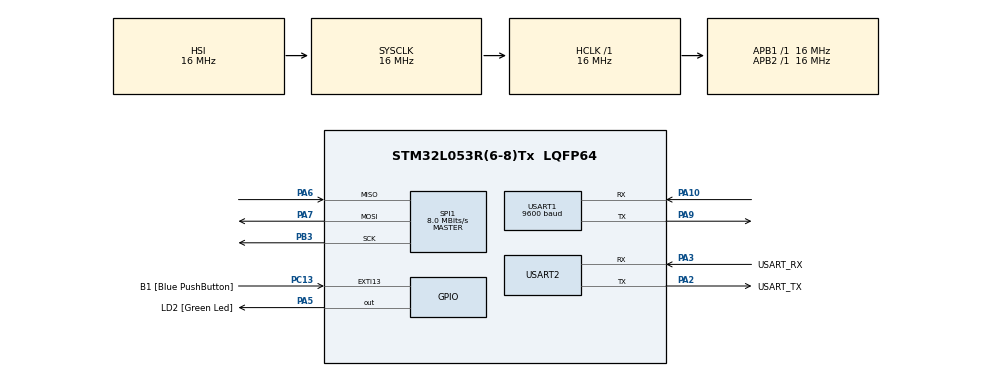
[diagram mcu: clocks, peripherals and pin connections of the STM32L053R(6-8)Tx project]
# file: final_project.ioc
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Mcu.Family=STM32L0
Mcu.Name=STM32L053R(6-8)Tx
Mcu.Package=LQFP64
PA10.Mode=Asynchronous
PA10.Signal=USART1_RX
PA13.GPIO_Label=TMS
PA13.Mode=Serial_Wire
PA13.Signal=SYS_SWDIO
PA14.GPIO_Label=TCK
PA14.Mode=Serial_Wire
PA14.Signal=SYS_SWCLK
PA2.GPIO_Label=USART_TX
PA2.Mode=Asynchronous
PA2.Signal=USART2_TX
PA3.GPIO_Label=USART_RX
PA3.Mode=Asynchronous
PA3.Signal=USART2_RX
PA5.GPIO_Label=LD2 [Green Led]
PA5.Signal=GPIO_Output
PA6.Mode=Full_Duplex_Master
PA6.Signal=SPI1_MISO
PA7.Mode=Full_Duplex_Master
PA7.Signal=SPI1_MOSI
PA9.Mode=Asynchronous
PA9.Signal=USART1_TX
PB3.Mode=Full_Duplex_Master
PB3.Signal=SPI1_SCK
PC13.GPIO_Label=B1 [Blue PushButton]
PC13.GPIO_ModeDefaultEXTI=GPIO_MODE_IT_FALLING
PC13.Signal=GPXTI13
PC14-OSC32_IN.Mode=LSE-External-Oscillator
PC14-OSC32_IN.Signal=RCC_OSC32_IN
PC15-OSC32_OUT.Mode=LSE-External-Oscillator
PC15-OSC32_OUT.Signal=RCC_OSC32_OUT
PH0-OSC_IN.Mode=HSE-External-Clock-Source
PH0-OSC_IN.Signal=RCC_OSC_IN
PH1-OSC_OUT.Signal=RCC_OSC_OUT
ProjectManager.HeapSize=0x200
ProjectManager.StackSize=0x400
ProjectManager.TargetToolchain=STM32CubeIDE
RCC.AHBFreq_Value=16000000
RCC.APB1Freq_Value=16000000
RCC.APB1TimFreq_Value=16000000
RCC.APB2Freq_Value=16000000
RCC.APB2TimFreq_Value=16000000
RCC.HCLKFreq_Value=16000000
RCC.HSE_VALUE=8000000
RCC.HSI16_VALUE=16000000
RCC.HSI48_VALUE=48000000
RCC.HSI_VALUE=16000000
RCC.MSI_VALUE=2097000
RCC.SYSCLKFreq_VALUE=16000000
RCC.SYSCLKSource=RCC_SYSCLKSOURCE_HSI
RCC.VCOOutputFreq_Value=48000000
SPI1.CalculateBaudRate=8.0 MBits/s
SPI1.Direction=SPI_DIRECTION_2LINES
SPI1.Mode=SPI_MODE_MASTER
SPI1.VirtualType=VM_MASTER
USART1.BaudRate=9600
USART1.VirtualMode-Asynchronous=VM_ASYNC
USART2.VirtualMode-Asynchronous=VM_ASYNC
VP_TIM6_VS_ClockSourceINT.Mode=Enable_Timer
board=NUCLEO-L053R8

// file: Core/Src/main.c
/* USER CODE BEGIN Header */
/**
  ******************************************************************************
  * @file           : main.c
  * @brief          : Main program body
  ******************************************************************************
  * @attention
  *
  * Copyright (c) 2025 STMicroelectronics.
  * All rights reserved.
  *
  * This software is licensed under terms that can be found in the LICENSE file
  * in the root directory of this software component.
  * If no LICENSE file comes with this software, it is provided AS-IS.
  *
  ******************************************************************************
  */
/* USER CODE END Header */
#include "main.h"
#include "lcd.h"
#include <string.h>
#include <stdlib.h>
#include <stdio.h>

typedef enum {
    NOTE_A,
    NOTE_A_SHARP,
    NOTE_B,
    NOTE_C,
    NOTE_C_SHARP,
    NOTE_D,
    NOTE_D_SHARP,
    NOTE_E,
    NOTE_F,
    NOTE_F_SHARP,
    NOTE_G,
    NOTE_G_SHARP,
    NOTE_UNKNOWN
} MusicNote;

typedef struct {
    MusicNote note;
    int offsetHz;
} TunerData;

SPI_HandleTypeDef hspi1;
TIM_HandleTypeDef htim6;
UART_HandleTypeDef huart1;
UART_HandleTypeDef huart2;

void SystemClock_Config(void);
static void MX_GPIO_Init(void);
static void MX_USART2_UART_Init(void);
static void MX_SPI1_Init(void);
static void MX_TIM6_Init(void);
static void MX_USART1_UART_Init(void);

/* USER CODE BEGIN PFP */
char *readStrFromBT( uint32_t timeout);
MusicNote stringToEnum(char* noteStr);
void updateTunerDisplay(TunerData data);
void drawScale();
void draw_arrow_down(uint16_t x, uint16_t y, uint16_t size, uint32_t color);

#define BUFF_SIZE 32
char rx_buff_from_BlueTooth_module[BUFF_SIZE];
TunerData currentTunerState;
/* USER CODE END PFP */

int main(void)
{

  /* MCU Configuration--------------------------------------------------------*/

  /* Reset of all peripherals, Initializes  Flash interface and the Systick. */
  HAL_Init();

  /* Configure the system clock */
  SystemClock_Config();

  /* Initialize all configured peripherals */
  MX_GPIO_Init();
  MX_USART2_UART_Init();
  MX_SPI1_Init();
  MX_TIM6_Init();
  MX_USART1_UART_Init();
  LCD_init();

  /* USER CODE BEGIN 2 */
  LCD_SetRotation(3);
  /* USER CODE END 2 */
  drawScale();

  /* Store the last note sent to the Nucleo */
  MusicNote tempNote = NOTE_UNKNOWN;

  /* Infinite loop */
  /* USER CODE BEGIN WHILE */
  while (1)
  {

      char* btString = readStrFromBT(100);

      if (btString != NULL)
      {
          /* parse string */
          char* notePart = strtok(btString, ",");
          char* offsetPart = strtok(NULL, ",");

          if (notePart != NULL && offsetPart != NULL) {

        	  /* convert string note to enum */
              MusicNote noteEnum = stringToEnum(notePart);

              if (noteEnum != tempNote){
            	  UG_FillFrame(0, 0, 319, 180, C_BLACK);
            	  tempNote = noteEnum;
              }
              // Convert string offset to integer
              int offsetVal = atoi(offsetPart);

              TunerData data = {noteEnum, offsetVal};

              updateTunerDisplay(data);

          }

      }
  }
}

/**
 * @brief Print the scale under the note display
 * @retval MusicNote enum value
 */

void drawScale() {

    int y_pos = 215;
    int center_x = 160;
    int radius = 8;
    int spacing = 26;

    /* iterate from -5 to +5 (11 total circles) */
    for (int i = -5; i <= 5; i++) {

        int x_curr = center_x + (i * spacing);
        UG_COLOR c;
        int dist = abs(i);

        if (dist == 0) {
        	//center circle
            c = C_GREEN;
        } else if (dist <= 3) {
        	//3 yellows on each side
            c = C_YELLOW;
        } else {
        	//outer circles
            c = C_RED;
        }
        // Draw the solid color "LED"
        UG_FillCircle(x_curr, y_pos, radius, c);

    }
}

/**
 * @brief Get note from input character
 * @retval None
 */
MusicNote stringToEnum(char* noteStr) {
    if (strcmp(noteStr, "A") == 0) return NOTE_A;
    if (strcmp(noteStr, "A#") == 0) return NOTE_A_SHARP;
    if (strcmp(noteStr, "B") == 0) return NOTE_B;
    if (strcmp(noteStr, "C") == 0) return NOTE_C;
    if (strcmp(noteStr, "C#") == 0) return NOTE_C_SHARP;
    if (strcmp(noteStr, "D") == 0) return NOTE_D;
    if (strcmp(noteStr, "D#") == 0) return NOTE_D_SHARP;
    if (strcmp(noteStr, "E") == 0) return NOTE_E;
    if (strcmp(noteStr, "F") == 0) return NOTE_F;
    if (strcmp(noteStr, "F#") == 0) return NOTE_F_SHARP;
    if (strcmp(noteStr, "G") == 0) return NOTE_G;
    if (strcmp(noteStr, "G#") == 0) return NOTE_G_SHARP;
    return NOTE_UNKNOWN;
}

/**
 * @brief Draw sharp symbol
 * @retval None
 */
void drawSharp() {
    int sx = 230;
    int ex = 290;
    int top = 50;
    int bot = 160;
    int thick = 10;

    // Left vertical
    UG_FillFrame(sx, top, sx + thick, bot, C_WHITE);
    // Right vertical
    UG_FillFrame(ex - thick, top, ex, bot, C_WHITE);
    // Upper horizontal
    int y1 = 80;
    UG_FillFrame(sx - 10, y1, ex + 10, y1 + thick, C_WHITE);
    // Lower horizontal
    int y2 = 120;
    UG_FillFrame(sx - 10, y2, ex + 10, y2 + thick, C_WHITE);
}

void updateTunerDisplay(TunerData data) {

    int x_left = 110, x_right = 210;
    int y_top = 30, y_bot = 150;
    int thick = 12;
    int y_mid = y_top + (y_bot - y_top) / 2;

    int safe_offset = data.offsetHz;
    UG_COLOR fc = C_WHITE;

    if (safe_offset == 0){
    	fc = C_GREEN;
    }

    switch (data.note) {

        case NOTE_A:
        case NOTE_A_SHARP: {
            //Left vertical leg
            UG_FillFrame(x_left, y_top, x_left + thick, y_bot, fc);
            //Right vertical leg
            UG_FillFrame(x_right - thick, y_top, x_right, y_bot, fc);
            //Top horizontal
            UG_FillFrame(x_left, y_top, x_right, y_top + thick, fc);
            //Crossbar
            UG_FillFrame(x_left + thick, y_mid - thick/2, x_right - thick, y_mid + thick/2, fc);

            if (data.note == NOTE_A_SHARP) drawSharp();
        } break;

        case NOTE_B: {
            //Left vertical spine
            UG_FillFrame(x_left, y_top, x_left + thick, y_bot, fc);
            //Top horizontal
            UG_FillFrame(x_left, y_top, x_right - 10, y_top + thick, fc);
            //Middle horizontal
            UG_FillFrame(x_left, y_mid - thick/2, x_right - 10, y_mid + thick/2, fc);
            //Bottom horizontal
            UG_FillFrame(x_left, y_bot - thick, x_right - 10, y_bot, fc);
            //Right vertical short bar (top half)
            UG_FillFrame(x_right-10, y_top + thick, x_right + 2, y_mid - thick/2, fc);
            //Right vertical short bar (bottom half)
            UG_FillFrame(x_right - 10, y_mid + thick/2, x_right + 2, y_bot - thick, fc);
        } break;

        case NOTE_C:
        case NOTE_C_SHARP: {
            //Left vertical
            UG_FillFrame(x_left, y_top, x_left + thick, y_bot, fc);
            //Top horizontal
            UG_FillFrame(x_left, y_top, x_right, y_top + thick, fc);
            //Bottom horizontal
            UG_FillFrame(x_left, y_bot - thick, x_right, y_bot, fc);

            if (data.note == NOTE_C_SHARP) drawSharp();
        } break;

        case NOTE_D:
        case NOTE_D_SHARP: {
            //Left vertical
            UG_FillFrame(x_left, y_top, x_left + thick, y_bot, fc);
            //Top horizontal (slightly shorter to meet right curve)
            UG_FillFrame(x_left, y_top, x_right - thick, y_top + thick, fc);
            //Bottom horizontal
            UG_FillFrame(x_left, y_bot - thick, x_right - thick, y_bot, fc);
            //Right vertical (closing the D)
            UG_FillFrame(x_right - thick, y_top + thick, x_right, y_bot - thick, fc);

            if (data.note == NOTE_D_SHARP) drawSharp();
        } break;

        case NOTE_E: {
            // Left vertical
            UG_FillFrame(x_left, y_top, x_left + thick, y_bot, fc);
            // Top horizontal
            UG_FillFrame(x_left, y_top, x_right, y_top + thick, fc);
            // Middle horizontal
            UG_FillFrame(x_left, y_mid - thick/2, x_right - 20, y_mid + thick/2, fc);
            // Bottom horizontal
            UG_FillFrame(x_left, y_bot - thick, x_right, y_bot, fc);
        } break;

        case NOTE_F:
        case NOTE_F_SHARP: {
            // Left vertical
            UG_FillFrame(x_left, y_top, x_left + thick, y_bot, fc);
            // Top horizontal
            UG_FillFrame(x_left, y_top, x_right, y_top + thick, fc);
            // Middle horizontal
            UG_FillFrame(x_left, y_mid - thick/2, x_right - 20, y_mid + thick/2, fc);

            if (data.note == NOTE_F_SHARP) drawSharp();
        } break;

        case NOTE_G:
        case NOTE_G_SHARP: {
            // Left vertical
            UG_FillFrame(x_left, y_top, x_left + thick, y_bot, fc);
            // Top horizontal
            UG_FillFrame(x_left, y_top, x_right, y_top + thick, fc);
            // Bottom horizontal
            UG_FillFrame(x_left, y_bot - thick, x_right, y_bot, fc);
            // Right vertical (Lower half only)
            UG_FillFrame(x_right - thick, y_mid, x_right, y_bot, fc);
            // Inward middle dash
            UG_FillFrame(x_right - thick - 30, y_mid - thick/2, x_right - thick, y_mid + thick/2, fc);

            if (data.note == NOTE_G_SHARP) drawSharp();
        } break;

        default:
            UG_FillFrame(0, 0, 319, 165, C_BLACK);
            break;

    }

    /* Draw the offset arrow */
    static int prev_arrow_x = -1;

	/* Constants for the Scale */
	int center_x = 160;
	int spacing = 26;
	int arrow_y = 180; // Position above the circles
	int arrow_size = 20;

	if(safe_offset > 5) safe_offset = 5;
	if(safe_offset < -5) safe_offset = -5;

	int current_arrow_x = center_x + (safe_offset * spacing);

	if (prev_arrow_x != -1 && prev_arrow_x != current_arrow_x) {

		UG_FillFrame(prev_arrow_x - (arrow_size/2 + 2), arrow_y,
					 prev_arrow_x + (arrow_size/2 + 2), arrow_y + arrow_size, C_BLACK);
	}

	if (prev_arrow_x != current_arrow_x) {

		uint32_t arrow_color = (safe_offset == 0) ? C_GREEN : C_WHITE;
		draw_arrow_down(current_arrow_x, arrow_y, arrow_size, arrow_color);
		prev_arrow_x = current_arrow_x;
	}
}

void draw_arrow_down(uint16_t x, uint16_t y, uint16_t size, uint32_t color)
{
    // arrow shaft
    uint16_t shaft_width = size / 3;
    uint16_t shaft_height = size / 2;

    UG_FillFrame(x - (shaft_width/2), y, x + (shaft_width/2), y + shaft_height, color);

    // arrow head
    int head_start_y = y + shaft_height;
    int head_height = size - shaft_height;

    for (int i = 0; i < head_height; i++) {
        int width = (head_height - i) * 2; // Taper the width
        UG_DrawLine(x - width/2, head_start_y + i, x + width/2, head_start_y + i, color);
    }
}

/**
  * @brief  Function to read data from BlueTooth module via UART1
  * @param  timeout: timeout value in milliseconds
  * @retval pointer to the received data buffer
  */

char *readStrFromBT(uint32_t timeout)
{
  memset(rx_buff_from_BlueTooth_module, 0, BUFF_SIZE);
  int idx = 0;
  uint8_t received_char;
  uint32_t startTick = HAL_GetTick();

  while ((HAL_GetTick() - startTick) < timeout)
  {
      if (HAL_UART_Receive(&huart1, &received_char, 1, 10) == HAL_OK)
      {

          rx_buff_from_BlueTooth_module[idx] = received_char;
          idx++;

          if (received_char == '\n')
          {
              break;
          }

          if (idx >= BUFF_SIZE - 1) break;
      }
  }

  rx_buff_from_BlueTooth_module[idx] = '\0';

  if (idx > 0) {
      return rx_buff_from_BlueTooth_module;
  } else {
      return NULL;
  }
}

void SystemClock_Config(void)
{
  RCC_OscInitTypeDef RCC_OscInitStruct = {0};
  RCC_ClkInitTypeDef RCC_ClkInitStruct = {0};
  RCC_PeriphCLKInitTypeDef PeriphClkInit = {0};

  /** Configure the main internal regulator output voltage
  */
  __HAL_PWR_VOLTAGESCALING_CONFIG(PWR_REGULATOR_VOLTAGE_SCALE1);

  /** Initializes the RCC Oscillators according to the specified parameters
  * in the RCC_OscInitTypeDef structure.
  */
  RCC_OscInitStruct.OscillatorType = RCC_OSCILLATORTYPE_HSI;
  RCC_OscInitStruct.HSIState = RCC_HSI_ON;
  RCC_OscInitStruct.HSICalibrationValue = RCC_HSICALIBRATION_DEFAULT;
  RCC_OscInitStruct.PLL.PLLState = RCC_PLL_NONE;
  if (HAL_RCC_OscConfig(&RCC_OscInitStruct) != HAL_OK)
  {
    Error_Handler();
  }

  /** Initializes the CPU, AHB and APB buses clocks
  */
  RCC_ClkInitStruct.ClockType = RCC_CLOCKTYPE_HCLK|RCC_CLOCKTYPE_SYSCLK
                              |RCC_CLOCKTYPE_PCLK1|RCC_CLOCKTYPE_PCLK2;
  RCC_ClkInitStruct.SYSCLKSource = RCC_SYSCLKSOURCE_HSI;
  RCC_ClkInitStruct.AHBCLKDivider = RCC_SYSCLK_DIV1;
  RCC_ClkInitStruct.APB1CLKDivider = RCC_HCLK_DIV1;
  RCC_ClkInitStruct.APB2CLKDivider = RCC_HCLK_DIV1;

  if (HAL_RCC_ClockConfig(&RCC_ClkInitStruct, FLASH_LATENCY_0) != HAL_OK)
  {
    Error_Handler();
  }
  PeriphClkInit.PeriphClockSelection = RCC_PERIPHCLK_USART1|RCC_PERIPHCLK_USART2;
  PeriphClkInit.Usart1ClockSelection = RCC_USART1CLKSOURCE_PCLK2;
  PeriphClkInit.Usart2ClockSelection = RCC_USART2CLKSOURCE_PCLK1;
  if (HAL_RCCEx_PeriphCLKConfig(&PeriphClkInit) != HAL_OK)
  {
    Error_Handler();
  }
}

static void MX_SPI1_Init(void)
{

  /* SPI1 parameter configuration*/
  hspi1.Instance = SPI1;
  hspi1.Init.Mode = SPI_MODE_MASTER;
  hspi1.Init.Direction = SPI_DIRECTION_2LINES;
  hspi1.Init.DataSize = SPI_DATASIZE_8BIT;
  hspi1.Init.CLKPolarity = SPI_POLARITY_LOW;
  hspi1.Init.CLKPhase = SPI_PHASE_1EDGE;
  hspi1.Init.NSS = SPI_NSS_SOFT;
  hspi1.Init.BaudRatePrescaler = SPI_BAUDRATEPRESCALER_2;
  hspi1.Init.FirstBit = SPI_FIRSTBIT_MSB;
  hspi1.Init.TIMode = SPI_TIMODE_DISABLE;
  hspi1.Init.CRCCalculation = SPI_CRCCALCULATION_DISABLE;
  hspi1.Init.CRCPolynomial = 7;
  if (HAL_SPI_Init(&hspi1) != HAL_OK)
  {
    Error_Handler();
  }

}

static void MX_TIM6_Init(void)
{

  TIM_MasterConfigTypeDef sMasterConfig = {0};

  htim6.Instance = TIM6;
  htim6.Init.Prescaler = 0;
  htim6.Init.CounterMode = TIM_COUNTERMODE_UP;
  htim6.Init.Period = 65535;
  htim6.Init.AutoReloadPreload = TIM_AUTORELOAD_PRELOAD_DISABLE;
  if (HAL_TIM_Base_Init(&htim6) != HAL_OK)
  {
    Error_Handler();
  }
  sMasterConfig.MasterOutputTrigger = TIM_TRGO_RESET;
  sMasterConfig.MasterSlaveMode = TIM_MASTERSLAVEMODE_DISABLE;
  if (HAL_TIMEx_MasterConfigSynchronization(&htim6, &sMasterConfig) != HAL_OK)
  {
    Error_Handler();
  }

}

static void MX_USART1_UART_Init(void)
{

  huart1.Instance = USART1;
  huart1.Init.BaudRate = 9600;
  huart1.Init.WordLength = UART_WORDLENGTH_8B;
  huart1.Init.StopBits = UART_STOPBITS_1;
  huart1.Init.Parity = UART_PARITY_NONE;
  huart1.Init.Mode = UART_MODE_TX_RX;
  huart1.Init.HwFlowCtl = UART_HWCONTROL_NONE;
  huart1.Init.OverSampling = UART_OVERSAMPLING_16;
  huart1.Init.OneBitSampling = UART_ONE_BIT_SAMPLE_DISABLE;
  huart1.AdvancedInit.AdvFeatureInit = UART_ADVFEATURE_NO_INIT;
  if (HAL_UART_Init(&huart1) != HAL_OK)
  {
    Error_Handler();
  }

}

static void MX_USART2_UART_Init(void)
{

  huart2.Instance = USART2;
  huart2.Init.BaudRate = 115200;
  huart2.Init.WordLength = UART_WORDLENGTH_8B;
  huart2.Init.StopBits = UART_STOPBITS_1;
  huart2.Init.Parity = UART_PARITY_NONE;
  huart2.Init.Mode = UART_MODE_TX_RX;
  huart2.Init.HwFlowCtl = UART_HWCONTROL_NONE;
  huart2.Init.OverSampling = UART_OVERSAMPLING_16;
  huart2.Init.OneBitSampling = UART_ONE_BIT_SAMPLE_DISABLE;
  huart2.AdvancedInit.AdvFeatureInit = UART_ADVFEATURE_NO_INIT;
  if (HAL_UART_Init(&huart2) != HAL_OK)
  {
    Error_Handler();
  }

}

static void MX_GPIO_Init(void)
{
  GPIO_InitTypeDef GPIO_InitStruct = {0};

  /* GPIO Ports Clock Enable */
  __HAL_RCC_GPIOC_CLK_ENABLE();
  __HAL_RCC_GPIOH_CLK_ENABLE();
  __HAL_RCC_GPIOA_CLK_ENABLE();
  __HAL_RCC_GPIOB_CLK_ENABLE();

  /*Configure GPIO pin Output Level */
  HAL_GPIO_WritePin(LD2_GPIO_Port, LD2_Pin, GPIO_PIN_RESET);

  /*Configure GPIO pin : B1_Pin */
  GPIO_InitStruct.Pin = B1_Pin;
  GPIO_InitStruct.Mode = GPIO_MODE_IT_FALLING;
  GPIO_InitStruct.Pull = GPIO_NOPULL;
  HAL_GPIO_Init(B1_GPIO_Port, &GPIO_InitStruct);

  /*Configure GPIO pin : LD2_Pin */
  GPIO_InitStruct.Pin = LD2_Pin;
  GPIO_InitStruct.Mode = GPIO_MODE_OUTPUT_PP;
  GPIO_InitStruct.Pull = GPIO_NOPULL;
  GPIO_InitStruct.Speed = GPIO_SPEED_FREQ_LOW;
  HAL_GPIO_Init(LD2_GPIO_Port, &GPIO_InitStruct);

  /* USER CODE BEGIN MX_GPIO_Init_2 */
  /*Configure GPIO pins : LD2_Pin LCD_DC_Pin */
  GPIO_InitStruct.Pin = LD2_Pin|LCD_DC_Pin;
  GPIO_InitStruct.Mode = GPIO_MODE_OUTPUT_PP;
  GPIO_InitStruct.Pull = GPIO_NOPULL;
  GPIO_InitStruct.Speed = GPIO_SPEED_FREQ_LOW;
  HAL_GPIO_Init(GPIOA, &GPIO_InitStruct);

  /*Configure GPIO pin : LCD_RST_Pin */
  GPIO_InitStruct.Pin = LCD_RST_Pin;
  GPIO_InitStruct.Mode = GPIO_MODE_OUTPUT_PP;
  GPIO_InitStruct.Pull = GPIO_NOPULL;
  GPIO_InitStruct.Speed = GPIO_SPEED_FREQ_LOW;
  HAL_GPIO_Init(LCD_RST_GPIO_Port, &GPIO_InitStruct);

  /*Configure GPIO pin : LCD_CS_Pin */
  GPIO_InitStruct.Pin = LCD_CS_Pin;
  GPIO_InitStruct.Mode = GPIO_MODE_OUTPUT_PP;
  GPIO_InitStruct.Pull = GPIO_NOPULL;
  GPIO_InitStruct.Speed = GPIO_SPEED_FREQ_LOW;
  HAL_GPIO_Init(LCD_CS_GPIO_Port, &GPIO_InitStruct);

  /* USER CODE END MX_GPIO_Init_2 */
}

void Error_Handler(void)
{
  __disable_irq();
  while (1)
  {
  }
}
